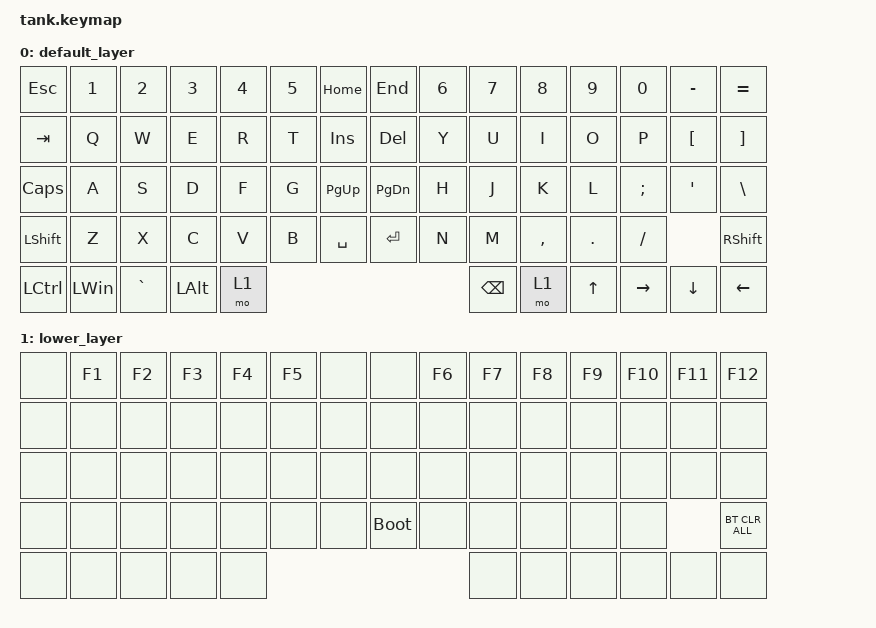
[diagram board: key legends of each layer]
/*
 * Copyright (c) 2020 The ZMK Contributors
 *
 * SPDX-License-Identifier: MIT
 */

#include <behaviors.dtsi>
#include <dt-bindings/zmk/bt.h>
#include <dt-bindings/zmk/keys.h>

/ {
    combos { compatible = "zmk,combos"; };

    keymap {
        compatible = "zmk,keymap";

        default_layer {
            bindings = <
&kp ESC    &kp N1        &kp N2     &kp N3    &kp N4  &kp N5  &kp HOME    &kp END    &kp N6  &kp N7    &kp N8     &kp N9   &kp N0     &kp MINUS  &kp EQUAL
&kp TAB    &kp Q         &kp W      &kp E     &kp R   &kp T   &kp INSERT  &kp DEL    &kp Y   &kp U     &kp I      &kp O    &kp P      &kp LBKT   &kp RBKT
&kp CAPS   &kp A         &kp S      &kp D     &kp F   &kp G   &kp PG_UP   &kp PG_DN  &kp H   &kp J     &kp K      &kp L    &kp SEMI   &kp SQT    &kp BSLH
&kp LSHFT  &kp Z         &kp X      &kp C     &kp V   &kp B   &kp SPACE   &kp RET    &kp N   &kp M     &kp COMMA  &kp DOT  &kp FSLH              &kp RIGHT_SHIFT
&kp LCTRL  &kp LEFT_WIN  &kp GRAVE  &kp LALT  &mo 1                                          &kp BSPC  &mo 1      &kp UP   &kp RIGHT  &kp DOWN   &kp LEFT
            >;
        };

        lower_layer {
            bindings = <
&none  &kp F1  &kp F2  &kp F3  &kp F4  &kp F5  &none  &none        &kp F6  &kp F7  &kp F8  &kp F9  &kp F10  &kp F11  &kp F12
&none  &none   &none   &none   &none   &none   &none  &none        &none   &none   &none   &none   &none    &none    &none
&none  &none   &none   &none   &none   &none   &none  &none        &none   &none   &none   &none   &none    &none    &none
&none  &none   &none   &none   &none   &none   &none  &bootloader  &none   &none   &none   &none   &none             &bt BT_CLR_ALL
&none  &none   &none   &none   &none                                       &none   &none   &none   &none    &none    &none
            >;
        };
    };
};
